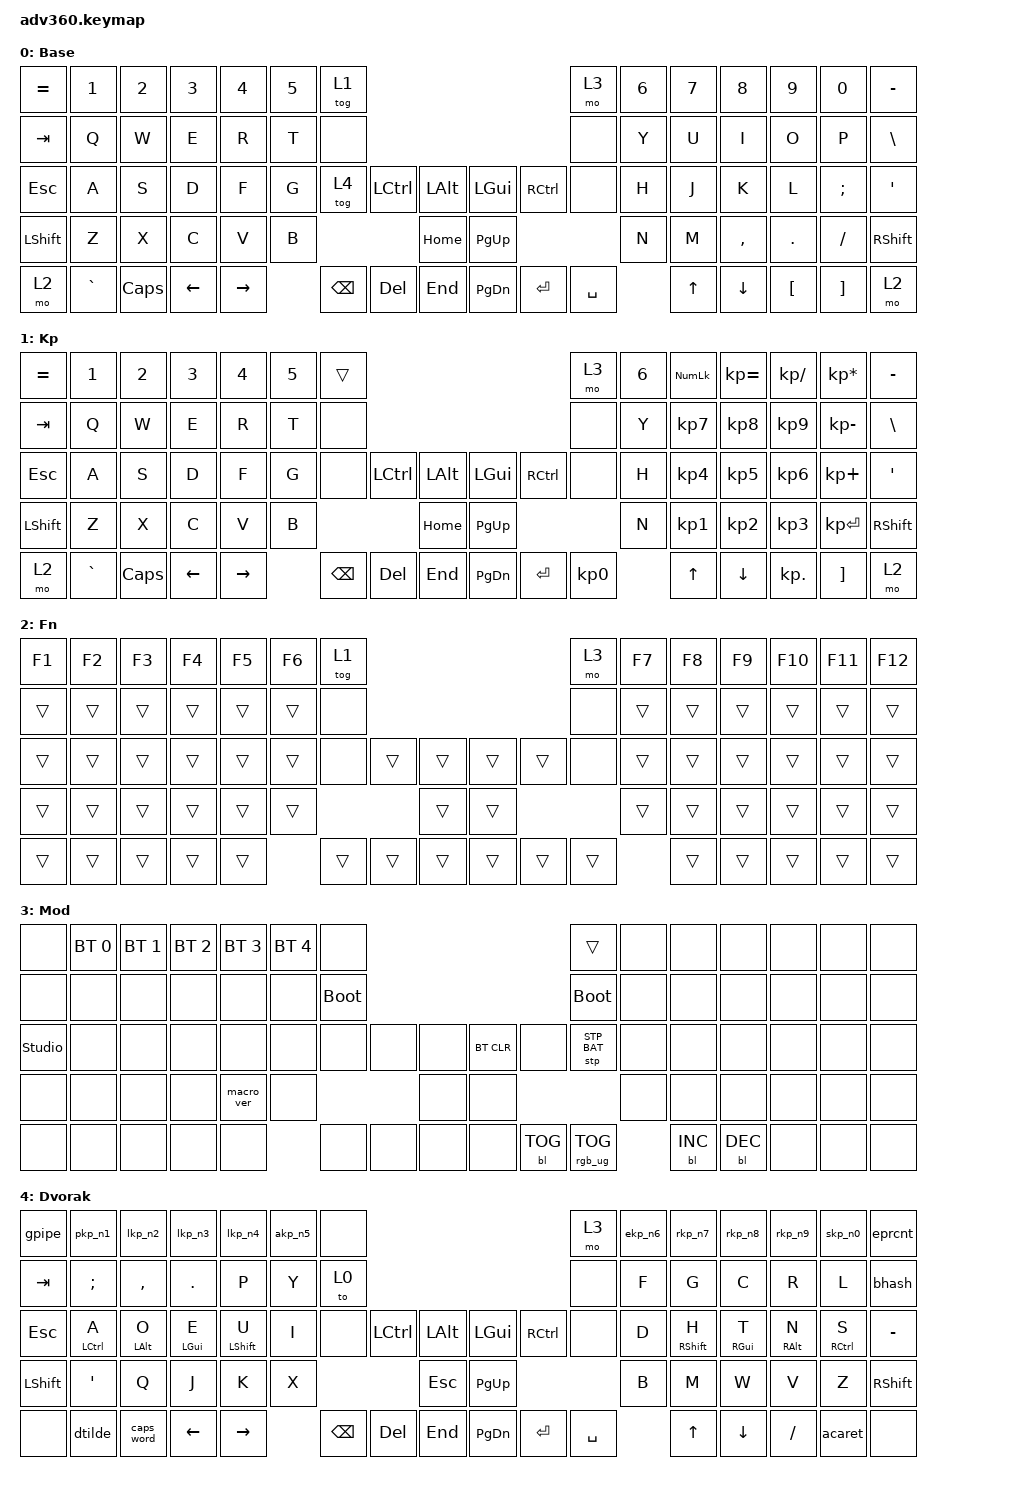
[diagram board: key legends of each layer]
#include <dt-bindings/zmk/stp.h>
#include <behaviors.dtsi>
#include <dt-bindings/zmk/backlight.h>
#include <dt-bindings/zmk/bt.h>
#include <dt-bindings/zmk/keys.h>
#include <dt-bindings/zmk/rgb.h>

/ {
    behaviors {
        #include "macros.dtsi"
        #include "version.dtsi"

        gpipe: grave_pipe {
            compatible = "zmk,behavior-mod-morph";
            label = "grave_pipe";
            #binding-cells = <0>;
            bindings = <&kp PIPE>, <&kp GRAVE>;

            mods = <(MOD_LGUI|MOD_LSFT|MOD_RGUI|MOD_RSFT)>;
        };

        tpipe: tilde_pipe {
            compatible = "zmk,behavior-mod-morph";
            label = "tilde_pipe";
            #binding-cells = <0>;
            bindings = <&kp TILDE>, <&kp PIPE>;

            mods = <(MOD_LGUI|MOD_LSFT|MOD_RGUI|MOD_RSFT)>;
        };

        pkp_n1: plus_kp_n1 {
            compatible = "zmk,behavior-mod-morph";
            label = "plus_kp_n1";
            #binding-cells = <0>;
            bindings = <&kp PLUS>, <&kp N1>;

            mods = <(MOD_LGUI|MOD_LSFT|MOD_RGUI|MOD_RSFT)>;
        };

        lkp_n2: left_bracket_kp_n2 {
            compatible = "zmk,behavior-mod-morph";
            label = "left_bracket_kp_n2";
            #binding-cells = <0>;
            bindings = <&kp LEFT_BRACKET>, <&kp N2>;

            mods = <(MOD_LGUI|MOD_LSFT|MOD_RGUI|MOD_RSFT)>;
        };

        lkp_n3: left_brace_kp_n3 {
            compatible = "zmk,behavior-mod-morph";
            label = "left_brace_kp_n3";
            #binding-cells = <0>;
            bindings = <&kp LEFT_BRACE>, <&kp N3>;

            mods = <(MOD_LGUI|MOD_LSFT|MOD_RGUI|MOD_RSFT)>;
        };

        lkp_n4: left_parenthesis_kp_n4 {
            compatible = "zmk,behavior-mod-morph";
            label = "left_parenthesis_kp_n4";
            #binding-cells = <0>;
            bindings = <&kp LEFT_PARENTHESIS>, <&kp N4>;

            mods = <(MOD_LGUI|MOD_LSFT|MOD_RGUI|MOD_RSFT)>;
        };

        akp_n5: amps_kp_n5 {
            compatible = "zmk,behavior-mod-morph";
            label = "amps_kp_n5";
            #binding-cells = <0>;
            bindings = <&kp AMPS>, <&kp N5>;

            mods = <(MOD_LGUI|MOD_LSFT|MOD_RGUI|MOD_RSFT)>;
        };

        ekp_n6: equal_kp_n6 {
            compatible = "zmk,behavior-mod-morph";
            label = "equal_kp_n6";
            #binding-cells = <0>;
            bindings = <&kp EQUAL>, <&kp N6>;

            mods = <(MOD_LGUI|MOD_LSFT|MOD_RGUI|MOD_RSFT)>;
        };

        rkp_n7: right_parenthesis_kp_n7 {
            compatible = "zmk,behavior-mod-morph";
            label = "right_parenthesis_kp_n7";
            #binding-cells = <0>;
            bindings = <&kp RIGHT_PARENTHESIS>, <&kp N7>;

            mods = <(MOD_LGUI|MOD_LSFT|MOD_RGUI|MOD_RSFT)>;
        };

        rkp_n8: right_brace_kp_n8 {
            compatible = "zmk,behavior-mod-morph";
            label = "right_brace_kp_n8";
            #binding-cells = <0>;
            bindings = <&kp RIGHT_BRACE>, <&kp N8>;

            mods = <(MOD_LGUI|MOD_LSFT|MOD_RGUI|MOD_RSFT)>;
        };

        rkp_n9: right_bracket_kp_n9 {
            compatible = "zmk,behavior-mod-morph";
            label = "right_bracket_kp_n9";
            #binding-cells = <0>;
            bindings = <&kp RIGHT_BRACKET>, <&kp N9>;

            mods = <(MOD_LGUI|MOD_LSFT|MOD_RGUI|MOD_RSFT)>;
        };

        skp_n0: star_kp_n0 {
            compatible = "zmk,behavior-mod-morph";
            label = "star_kp_n0";
            #binding-cells = <0>;
            bindings = <&kp STAR>, <&kp N0>;

            mods = <(MOD_LGUI|MOD_LSFT|MOD_RGUI|MOD_RSFT)>;
        };

        eprcnt: excl_prcnt {
            compatible = "zmk,behavior-mod-morph";
            label = "excl_prcnt";
            #binding-cells = <0>;
            bindings = <&kp EXCL>, <&kp PRCNT>;

            mods = <(MOD_LGUI|MOD_LSFT|MOD_RGUI|MOD_RSFT)>;
        };

        dgrave: dllr_grave {
            compatible = "zmk,behavior-mod-morph";
            label = "dllr_grave";
            #binding-cells = <0>;
            bindings = <&kp DLLR>, <&kp GRAVE>;

            mods = <(MOD_LGUI|MOD_LSFT|MOD_RGUI|MOD_RSFT)>;
        };

        dtilde: dllr_tilde {
            compatible = "zmk,behavior-mod-morph";
            label = "dllr_tilde";
            #binding-cells = <0>;
            bindings = <&kp DLLR>, <&kp TILDE>;

            mods = <(MOD_LGUI|MOD_LSFT|MOD_RGUI|MOD_RSFT)>;
        };

        ggrave: grave_grave {
            compatible = "zmk,behavior-mod-morph";
            label = "grave_grave";
            #binding-cells = <0>;
            bindings = <&kp GRAVE>, <&kp GRAVE>;

            mods = <(MOD_LGUI|MOD_LSFT|MOD_RGUI|MOD_RSFT)>;
        };

        bhash: bslh_hash {
            compatible = "zmk,behavior-mod-morph";
            label = "bslh_hash";
            #binding-cells = <0>;
            bindings = <&kp BSLH>, <&kp HASH>;

            mods = <(MOD_LGUI|MOD_LSFT|MOD_RGUI|MOD_RSFT)>;
        };

        acaret: at_caret {
            compatible = "zmk,behavior-mod-morph";
            label = "at_caret";
            #binding-cells = <0>;
            bindings = <&kp AT>, <&kp CARET>;

            mods = <(MOD_LGUI|MOD_LSFT|MOD_RGUI|MOD_RSFT)>;
        };

        left_homerow_mod: left_homerow_mod {
            compatible = "zmk,behavior-hold-tap";
            label = "LEFT_HOMEROW_MOD";
            bindings = <&kp>, <&kp>;

            #binding-cells = <2>;
            tapping-term-ms = <280>;
            quick-tap-ms = <175>;
            require-prior-idle-ms = <200>;
            flavor = "balanced";
            hold-trigger-on-release;
            hold-trigger-key-positions = <8 9 10 11 12 22 23 24 25 26 40 41 42 43 44 54 55 56 57 58>;
        };

        right_homerow_mod: right_homerow_mod {
            compatible = "zmk,behavior-hold-tap";
            label = "RIGHT_HOMEROW_MOD";
            bindings = <&kp>, <&kp>;

            #binding-cells = <2>;
            tapping-term-ms = <280>;
            quick-tap-ms = <175>;
            require-prior-idle-ms = <200>;
            flavor = "balanced";
            hold-trigger-on-release;
            hold-trigger-key-positions = <1 2 3 4 5 15 16 17 18 19 29 30 31 32 33 47 48 49 50 51>;
        };
    };

    combos {
        compatible = "zmk,combos";

        combo_esc {
            timeout-ms = <30>;
            require-prior-idle-ms = <200>;
            key-positions = <30 31>;
            bindings = <&kp ESC>;
            layers = <4>;
        };
    };

    keymap {
        compatible = "zmk,keymap";

        default_layer {
            display-name = "Base";
            bindings = <
&kp EQUAL  &kp N1     &kp N2    &kp N3    &kp N4     &kp N5  &tog 1                                                   &mo 3      &kp N6  &kp N7  &kp N8     &kp N9    &kp N0    &kp MINUS
&kp TAB    &kp Q      &kp W     &kp E     &kp R      &kp T   &none                                                    &none      &kp Y   &kp U   &kp I      &kp O     &kp P     &kp BSLH
&kp ESC    &kp A      &kp S     &kp D     &kp F      &kp G   &tog 4    &kp LCTRL  &kp LALT      &kp LGUI   &kp RCTRL  &none      &kp H   &kp J   &kp K      &kp L     &kp SEMI  &kp SQT
&kp LSHFT  &kp Z      &kp X     &kp C     &kp V      &kp B                        &kp HOME      &kp PG_UP                        &kp N   &kp M   &kp COMMA  &kp DOT   &kp FSLH  &kp RSHFT
&mo 2      &kp GRAVE  &kp CAPS  &kp LEFT  &kp RIGHT          &kp BSPC  &kp DEL    &kp END       &kp PG_DN  &kp ENTER  &kp SPACE          &kp UP  &kp DOWN   &kp LBKT  &kp RBKT  &mo 2
            >;
        };

        keypad {
            display-name = "Kp";
            bindings = <
&kp EQUAL  &kp N1     &kp N2    &kp N3    &kp N4     &kp N5  &trans                                                   &mo 3      &kp N6  &kp KP_NUM  &kp KP_EQUAL  &kp KP_DIVIDE  &kp KP_MULTIPLY  &kp MINUS
&kp TAB    &kp Q      &kp W     &kp E     &kp R      &kp T   &none                                                    &none      &kp Y   &kp KP_N7   &kp KP_N8     &kp KP_N9      &kp KP_MINUS     &kp BSLH
&kp ESC    &kp A      &kp S     &kp D     &kp F      &kp G   &none     &kp LCTRL  &kp LALT      &kp LGUI   &kp RCTRL  &none      &kp H   &kp KP_N4   &kp KP_N5     &kp KP_N6      &kp KP_PLUS      &kp SQT
&kp LSHFT  &kp Z      &kp X     &kp C     &kp V      &kp B                        &kp HOME      &kp PG_UP                        &kp N   &kp KP_N1   &kp KP_N2     &kp KP_N3      &kp KP_ENTER     &kp RSHFT
&mo 2      &kp GRAVE  &kp CAPS  &kp LEFT  &kp RIGHT          &kp BSPC  &kp DEL    &kp END       &kp PG_DN  &kp ENTER  &kp KP_N0          &kp UP      &kp DOWN      &kp KP_DOT     &kp RBKT         &mo 2
            >;
        };

        fn {
            display-name = "Fn";
            bindings = <
&kp F1  &kp F2  &kp F3  &kp F4  &kp F5  &kp F6  &tog 1                                      &mo 3   &kp F7  &kp F8  &kp F9  &kp F10  &kp F11  &kp F12
&trans  &trans  &trans  &trans  &trans  &trans  &none                                       &none   &trans  &trans  &trans  &trans   &trans   &trans
&trans  &trans  &trans  &trans  &trans  &trans  &none   &trans  &trans      &trans  &trans  &none   &trans  &trans  &trans  &trans   &trans   &trans
&trans  &trans  &trans  &trans  &trans  &trans                  &trans      &trans                  &trans  &trans  &trans  &trans   &trans   &trans
&trans  &trans  &trans  &trans  &trans          &trans  &trans  &trans      &trans  &trans  &trans          &trans  &trans  &trans   &trans   &trans
            >;
        };

        mod {
            display-name = "Mod";
            bindings = <
&none           &bt BT_SEL 0  &bt BT_SEL 1  &bt BT_SEL 2  &bt BT_SEL 3  &bt BT_SEL 4  &none                                                  &trans           &none  &none       &none       &none  &none  &none
&none           &none         &none         &none         &none         &none         &bootloader                                            &bootloader      &none  &none       &none       &none  &none  &none
&studio_unlock  &none         &none         &none         &none         &none         &none        &none  &none      &bt BT_CLR  &none       &stp STP_BAT     &none  &none       &none       &none  &none  &none
&none           &none         &none         &none         &macro_ver    &none                             &none      &none                                    &none  &none       &none       &none  &none  &none
&none           &none         &none         &none         &none                       &none        &none  &none      &none       &bl BL_TOG  &rgb_ug RGB_TOG         &bl BL_INC  &bl BL_DEC  &none  &none  &none
            >;
        };

        real-prog-dvorak {
            display-name = "Dvorak";
            bindings = <
&gpipe     &pkp_n1                    &lkp_n2                   &lkp_n3                   &lkp_n4                    &akp_n5  &none                                                          &mo 3      &ekp_n6  &rkp_n7                     &rkp_n8                    &rkp_n9                    &skp_n0                     &eprcnt
&kp TAB    &kp SEMI                   &kp COMMA                 &kp DOT                   &kp P                      &kp Y    &to 0                                                          &none      &kp F    &kp G                       &kp C                      &kp R                      &kp L                       &bhash
&kp ESC    &left_homerow_mod LCTRL A  &left_homerow_mod LALT O  &left_homerow_mod LGUI E  &left_homerow_mod LSHFT U  &kp I    &none          &kp LCTRL   &kp LALT      &kp LGUI   &kp RCTRL  &none      &kp D    &right_homerow_mod RSHFT H  &right_homerow_mod RGUI T  &right_homerow_mod RALT N  &right_homerow_mod RCTRL S  &kp MINUS
&kp LSHFT  &kp APOS                   &kp Q                     &kp J                     &kp K                      &kp X                               &kp ESC       &kp PG_UP                        &kp B    &kp M                       &kp W                      &kp V                      &kp Z                       &kp RSHFT
&none      &dtilde                    &caps_word                &kp LEFT_ARROW            &kp RIGHT_ARROW                     &kp BACKSPACE  &kp DELETE  &kp END       &kp PG_DN  &kp ENTER  &kp SPACE           &kp UP_ARROW                &kp DOWN_ARROW             &kp SLASH                  &acaret                     &none
            >;
        };

        extra1 {
            display-name = "Red";
            status = "reserved";
        };

        extra2 {
            display-name = "Purple";
            status = "reserved";
        };

        extra3 {
            display-name = "Cyan";
            status = "reserved";
        };

        extra4 {
            display-name = "Yellow";
            status = "reserved";
        };
    };
};
